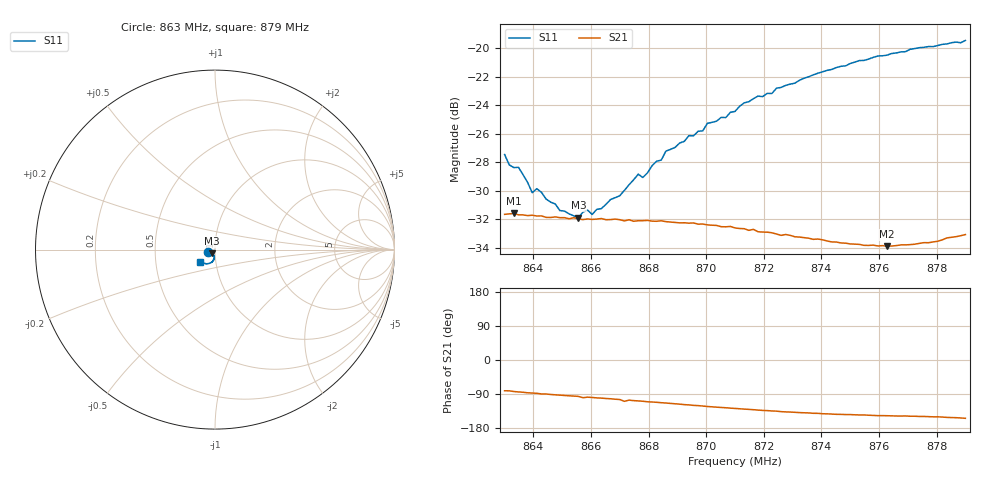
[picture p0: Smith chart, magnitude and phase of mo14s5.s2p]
# HZ S RI R 50
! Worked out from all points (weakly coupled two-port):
!   101 points, 863 MHz to 879 MHz, reference 50 ohm
!   highest |S21| = -31.60 dB at 863.32 MHz (marker M1); lowest = -33.9 dB at 876.28 MHz (marker M2)
!   lowest |S11| = -31.9 dB at 865.56 MHz (marker M3), VSWR 1.05, Z = 48.4 - j1.97 ohm
!   |S11| at or under -10 dB: start of sweep to end of sweep
!   S12 and S22 are empty: the file has one direction only
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8.63e8  -0.0395 -0.0153  0.00399 -0.0258  0 0  0 0
8.6332e8  -0.0348 -0.0155  0.0031 -0.0261  0 0  0 0
8.6348e8  -0.0344 -0.0167  0.00262 -0.0259  0 0  0 0
8.6396e8  -0.0268 -0.0159  0.00126 -0.0259  0 0  0 0
8.6412e8  -0.028 -0.0158  0.000965 -0.0257  0 0  0 0
8.6492e8  -0.0201 -0.0179  -0.00121 -0.0254  0 0  0 0
8.6556e8  -0.0153 -0.0203  -0.00263 -0.025  0 0  0 0
8.6572e8  -0.0139 -0.0226  -0.00412 -0.0247  0 0  0 0
8.6636e8  -0.0103 -0.0253  -0.00463 -0.0248  0 0  0 0
8.67e8  -0.00792 -0.0293  -0.00618 -0.0242  0 0  0 0
8.6764e8  -0.0074 -0.0354  -0.00764 -0.0236  0 0  0 0
8.678e8  -0.00495 -0.0348  -0.00801 -0.0235  0 0  0 0
8.6844e8  -0.00394 -0.0403  -0.00957 -0.0229  0 0  0 0
8.686e8  -0.00356 -0.0434  -0.00983 -0.0226  0 0  0 0
8.6988e8  -0.00477 -0.0511  -0.0126 -0.0206  0 0  0 0
8.7004e8  -0.00695 -0.0541  -0.013 -0.0202  0 0  0 0
8.71e8  -0.00821 -0.0595  -0.0143 -0.0185  0 0  0 0
8.718e8  -0.0146 -0.0664  -0.0152 -0.0168  0 0  0 0
8.7372e8  -0.0275 -0.076  -0.0165 -0.0135  0 0  0 0
8.7628e8  -0.0549 -0.0772  -0.0169 -0.011  0 0  0 0
8.7644e8  -0.056 -0.078  -0.017 -0.0109  0 0  0 0
8.79e8  -0.0831 -0.067  -0.0199 -0.00977  0 0  0 0
